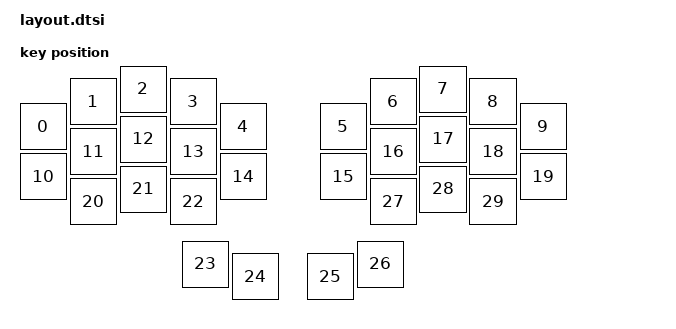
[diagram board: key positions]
#include <physical_layouts.dtsi>

/ {
    physical_layout_jacked_rufous: physical_layout_jacked_rufous {
        compatible = "zmk,physical-layout";
        display-name = "Jacked Rufous";
        keys  //                     w   h    x    y     rot    rx    ry
            = <&key_physical_attrs 100 100    0   75       0     0    75>
            , <&key_physical_attrs 100 100  100   25       0   100    25>
            , <&key_physical_attrs 100 100  200    0       0   200     0>
            , <&key_physical_attrs 100 100  300   25       0   300    25>
            , <&key_physical_attrs 100 100  400   75       0   400    75>
            , <&key_physical_attrs 100 100  600   75       0   600    75>
            , <&key_physical_attrs 100 100  700   25       0   700    25>
            , <&key_physical_attrs 100 100  800    0       0   800     0>
            , <&key_physical_attrs 100 100  900   25       0   900    25>
            , <&key_physical_attrs 100 100 1000   75       0  1000    75>
            , <&key_physical_attrs 100 100    0  175       0     0   175>
            , <&key_physical_attrs 100 100  100  125       0   100   125>
            , <&key_physical_attrs 100 100  200  100       0   200   100>
            , <&key_physical_attrs 100 100  300  125       0   300   125>
            , <&key_physical_attrs 100 100  400  175       0   400   175>
            , <&key_physical_attrs 100 100  600  175       0   600   175>
            , <&key_physical_attrs 100 100  700  125       0   700   125>
            , <&key_physical_attrs 100 100  800  100       0   800   100>
            , <&key_physical_attrs 100 100  900  125       0   900   125>
            , <&key_physical_attrs 100 100 1000  175       0  1000   175>
            , <&key_physical_attrs 100 100  100  225       0   100   225>
            , <&key_physical_attrs 100 100  200  200       0   200   200>
            , <&key_physical_attrs 100 100  300  225       0   300   225>
            , <&key_physical_attrs 100 100  325  350       0   325   350>
            , <&key_physical_attrs 100 100  425  375       0   425   375>
            , <&key_physical_attrs 100 100  575  375       0   575   375>
            , <&key_physical_attrs 100 100  675  350       0   675   350>
            , <&key_physical_attrs 100 100  700  225       0   700   225>
            , <&key_physical_attrs 100 100  800  200       0   800   200>
            , <&key_physical_attrs 100 100  900  225       0   900   225>
            ;
    };
};
